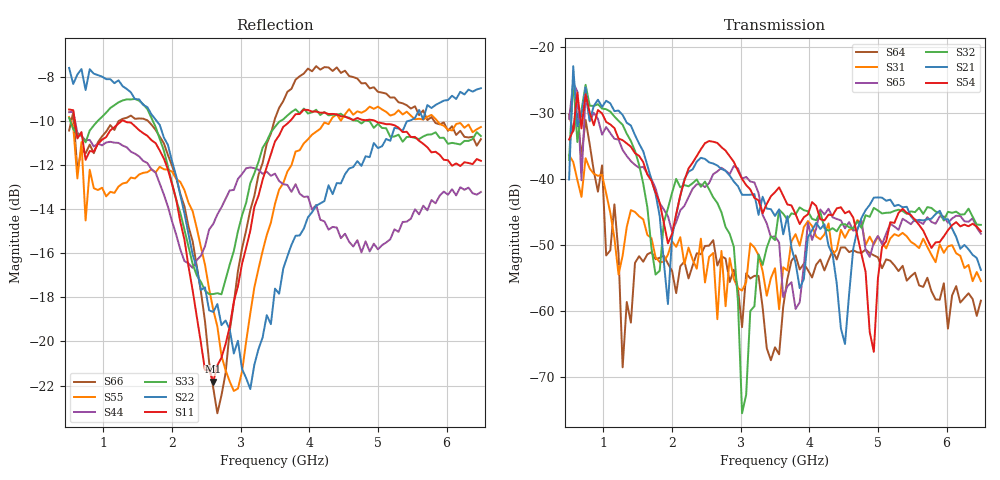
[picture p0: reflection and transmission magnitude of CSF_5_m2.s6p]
!Keysight Technologies,M9804A,MY58100912,A.14.10.03
!Date: Thursday, April 27, 2023 10:28:33
!Correction: S11(C  6-Port  )
!S12(C  6-Port  )
!S13(C  6-Port  )
!S14(C  6-Port  )
!S15(C  6-Port  )
!S16(C  6-Port  )
!S21(C  6-Port  )
!S22(C  6-Port  )
!S23(C  6-Port  )
!S24(C  6-Port  )
!S25(C  6-Port  )
!S26(C  6-Port  )
!S31(C  6-Port  )
!S32(C  6-Port  )
!S33(C  6-Port  )
!S34(C  6-Port  )
!S35(C  6-Port  )
!S36(C  6-Port  )
!S41(C  6-Port  )
!S42(C  6-Port  )
!S43(C  6-Port  )
!S44(C  6-Port  )
!S45(C  6-Port  )
!S46(C  6-Port  )
!S51(C  6-Port  )
!S52(C  6-Port  )
!S53(C  6-Port  )
!S54(C  6-Port  )
!S55(C  6-Port  )
!S56(C  6-Port  )
!S61(C  6-Port  )
!S62(C  6-Port  )
!S63(C  6-Port  )
!S64(C  6-Port  )
!S65(C  6-Port  )
!S66(C  6-Port  )
!S6P File: Measurement: :
# Hz S  RI  R 50
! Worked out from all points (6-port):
!   101 points, 500 MHz to 6.5 GHz, reference 50 ohm
!   strongest paths, dB at 500 MHz, 2 GHz, 3.5 GHz, 5 GHz, 6.5 GHz:
!     S54: -34.0, -48.3, -42.0, -55.0, -47.9
!     S21: -40.1, -48.8, -45.6, -42.8, -53.8
!     S32: -37.1, -42.1, -49.2, -44.8, -46.9
!     S65: -30.9, -47.9, -48.7, -48.6, -48.3
!     S31: -36.4, -49.4, -53.5, -48.7, -55.4
!     S64: -30.3, -53.9, -65.5, -51.9, -58.4
!   lowest |S11| = -21.8 dB at 2.6 GHz (marker M1), VSWR 1.18, Z = 42.7 + j1.9 ohm
!   |S11| at or under -10 dB: 582.7 MHz to 1.269 GHz (686.8 MHz wide, 74.2 % of centre); 1.298 GHz to 3.721 GHz (2.423 GHz wide, 96.6 % of centre); 4.955 GHz to end of sweep
